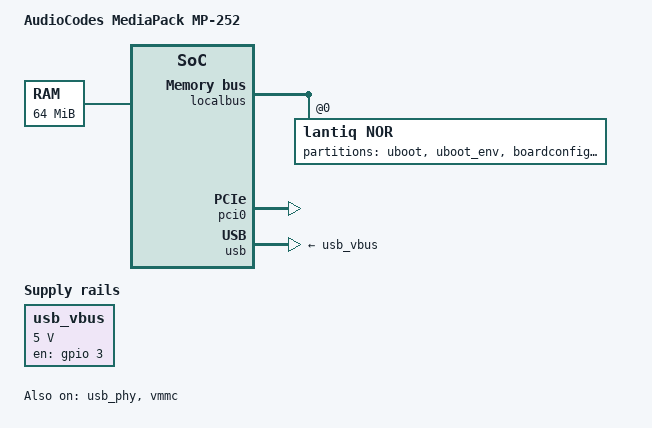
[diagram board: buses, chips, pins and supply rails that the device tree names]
/dts-v1/;

#include "danube.dtsi"

/ {
	compatible = "audiocodes,mp-252", "lantiq,xway", "lantiq,danube";
	model = "AudioCodes MediaPack MP-252";

	chosen {
		bootargs = "console=ttyLTQ0,115200";
	};

	memory@0 {
		reg = <0x0 0x4000000>;
	};

	usb_vbus: regulator-usb-vbus {
		compatible = "regulator-fixed";

		regulator-name = "USB_VBUS";

		regulator-min-microvolt = <5000000>;
		regulator-max-microvolt = <5000000>;

		gpio = <&gpio 3 GPIO_ACTIVE_HIGH>;
		enable-active-high;
	};
};

&gpio {
	pinctrl-names = "default";
	pinctrl-0 = <&state_default>;

	state_default: pinmux {
		exin {
			lantiq,groups = "exin1";
			lantiq,function = "exin";
		};
		pci {
			lantiq,groups = "gnt1", "req1";
			lantiq,function = "pci";
		};
	};
};

&gsw {
	phy-mode = "rmii";
};

&localbus {
	nor@0 {
		compatible = "lantiq,nor";
		bank-width = <2>;
		reg = <0 0x0 0x2000000>;
		#address-cells = <1>;
		#size-cells = <1>;

		partitions {
			compatible = "fixed-partitions";
			#address-cells = <1>;
			#size-cells = <1>;

			partition@0 {
				label = "uboot";
				reg = <0x0 0x20000>;
				read-only;
			};

			partition@20000 {
				label = "uboot_env";
				reg = <0x20000 0x20000>;
			};

			partition@40000 {
				label = "boardconfig";
				reg = <0x40000 0x60000>;
				read-only;
			};

			partition@a0000 {
				label = "firmware";
				reg = <0xa0000 0xf20000>;
			};

			partition@fc0000 {
				label = "sysconfig";
				reg = <0xfc0000 0x40000>;
			};

			partition@0x1000000 {
				label = "rootfs_data";
				reg = <0x1000000 0x1000000>;
			};
		};
	};
};

&pci0 {
	status = "okay";
};

&usb_phy {
	status = "okay";
};

&usb {
	status = "okay";
	vbus-supply = <&usb_vbus>;
};

&vmmc {
	status = "okay";
	gpios = <&gpio 31 GPIO_ACTIVE_HIGH>;
};
